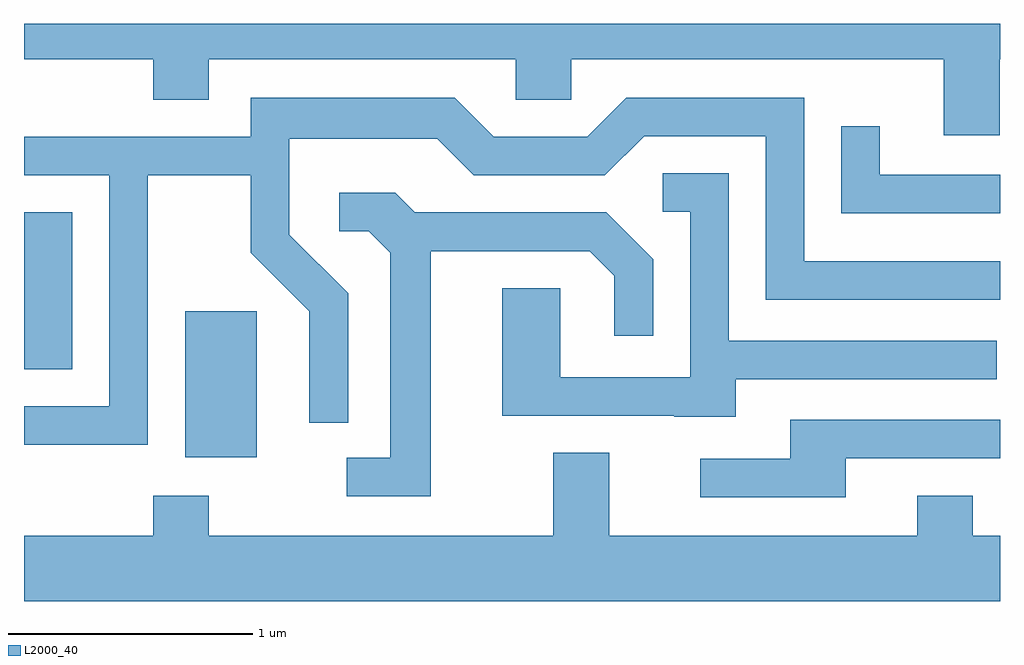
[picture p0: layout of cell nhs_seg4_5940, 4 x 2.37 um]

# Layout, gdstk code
import gdstk
lib = gdstk.Library(unit=1e-6, precision=1e-09)
def R(c, l, rs):  # rectangles x0, y0, x1, y1
    for r in rs: c.add(gdstk.rectangle(r[:2], r[2:], *l))
def P(c, l, *ps):  # polygons
    for p in ps: c.add(gdstk.Polygon(p, *l))
L2000_40 = (2000, 40)

nhs_seg4_5940 = lib.new_cell('nhs_seg4_5940')
R(nhs_seg4_5940, L2000_40, [(360.271,1304.206,360.564,1304.804), (359.611,1304.566,359.809,1305.209)])
P(nhs_seg4_5940, L2000_40, [(363.609,1305.836),(363.611,1305.836),(363.611,1305.982),(359.611,1305.982),(359.611,1305.836),(360.141,1305.836),(360.141,1305.671),(360.369,1305.671),(360.369,1305.836),(361.626,1305.836),(361.626,1305.671),(361.854,1305.671),(361.854,1305.836),(363.381,1305.836),(363.381,1305.526),(363.609,1305.526)],
  [(360.119,1305.361),(360.541,1305.361),(360.541,1305.044),(360.781,1304.804),(360.781,1304.348),(360.939,1304.348),(360.939,1304.877),(360.699,1305.117),(360.699,1305.511),(361.304,1305.511),(361.454,1305.361),(361.992,1305.361),(362.152,1305.521),(362.651,1305.521),(362.651,1304.851),(363.611,1304.851),(363.611,1305.009),(362.809,1305.009),(362.809,1305.679),(362.079,1305.679),(361.919,1305.519),(361.537,1305.519),(361.377,1305.679),(360.541,1305.679),(360.541,1305.519),(359.613,1305.519),(359.613,1305.361),(359.961,1305.361),(359.961,1304.414),(359.613,1304.414),(359.613,1304.256),(360.119,1304.256)],
  [(363.611,1305.364),(363.119,1305.364),(363.119,1305.563),(362.961,1305.563),(362.961,1305.206),(363.611,1305.206)],
  [(362.529,1304.526),(363.598,1304.526),(363.598,1304.684),(362.499,1304.684),(362.499,1305.369),(362.228,1305.369),(362.228,1305.211),(362.341,1305.211),(362.341,1304.534),(361.809,1304.534),(361.809,1304.899),(361.571,1304.899),(361.571,1304.376),(362.275,1304.376),(362.275,1304.371),(362.529,1304.371)],
  [(361.279,1305.051),(361.929,1305.051),(362.031,1304.949),(362.031,1304.703),(362.189,1304.703),(362.189,1305.017),(361.997,1305.209),(361.212,1305.209),(361.132,1305.289),(360.903,1305.289),(360.903,1305.131),(361.024,1305.131),(361.111,1305.044),(361.111,1304.204),(360.933,1304.204),(360.933,1304.046),(361.279,1304.046)],
  [(362.979,1304.201),(363.611,1304.201),(363.611,1304.359),(362.751,1304.359),(362.751,1304.199),(362.383,1304.199),(362.383,1304.041),(362.979,1304.041)],
  [(363.611,1303.884),(363.499,1303.884),(363.499,1304.049),(363.271,1304.049),(363.271,1303.884),(362.009,1303.884),(362.009,1304.224),(361.781,1304.224),(361.781,1303.884),(360.369,1303.884),(360.369,1304.049),(360.141,1304.049),(360.141,1303.884),(359.611,1303.884),(359.611,1303.616),(363.611,1303.616)])

lib.write_gds('nhs_seg4_5940.gds')
